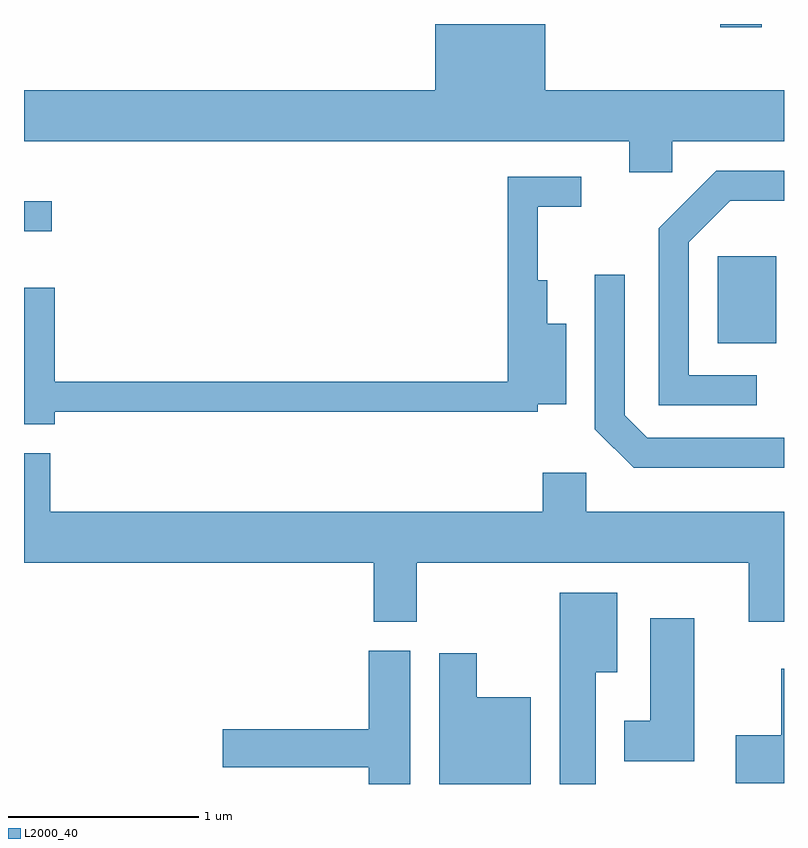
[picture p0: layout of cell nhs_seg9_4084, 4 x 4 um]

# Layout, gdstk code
import gdstk
lib = gdstk.Library(unit=1e-6, precision=1e-09)
def R(c, l, rs):  # rectangles x0, y0, x1, y1
    for r in rs: c.add(gdstk.rectangle(r[:2], r[2:], *l))
def P(c, l, *ps):  # polygons
    for p in ps: c.add(gdstk.Polygon(p, *l))
L2000_40 = (2000, 40)

nhs_seg9_4084 = lib.new_cell('nhs_seg9_4084')
R(nhs_seg9_4084, L2000_40, [(309.261,1990.751,309.569,1991.209), (305.611,1991.341,305.758,1991.499), (309.276,1992.416,309.494,1992.432)])
P(nhs_seg9_4084, L2000_40, [(309.024,1991.816),(309.611,1991.816),(309.611,1992.084),(308.354,1992.084),(308.354,1992.432),(307.776,1992.432),(307.776,1992.084),(305.611,1992.084),(305.611,1991.816),(308.796,1991.816),(308.796,1991.651),(309.024,1991.651)],
  [(309.468,1990.584),(309.109,1990.584),(309.109,1991.284),(309.327,1991.501),(309.611,1991.501),(309.611,1991.659),(309.254,1991.659),(308.951,1991.357),(308.951,1990.426),(309.468,1990.426)],
  [(305.774,1990.391),(308.314,1990.391),(308.314,1990.431),(308.464,1990.431),(308.464,1990.854),(308.364,1990.854),(308.364,1991.084),(308.314,1991.084),(308.314,1991.471),(308.543,1991.471),(308.543,1991.629),(308.156,1991.629),(308.156,1990.549),(305.774,1990.549),(305.774,1991.044),(305.611,1991.044),(305.611,1990.326),(305.774,1990.326)],
  [(309.611,1990.254),(308.892,1990.254),(308.774,1990.372),(308.774,1991.113),(308.616,1991.113),(308.616,1990.299),(308.819,1990.096),(309.611,1990.096)],
  [(307.679,1989.596),(309.426,1989.596),(309.426,1989.286),(309.611,1989.286),(309.611,1989.864),(308.569,1989.864),(308.569,1990.069),(308.341,1990.069),(308.341,1989.864),(305.749,1989.864),(305.749,1990.174),(305.611,1990.174),(305.611,1989.596),(307.451,1989.596),(307.451,1989.286),(307.679,1989.286)],
  [(308.619,1989.021),(308.734,1989.021),(308.734,1989.439),(308.431,1989.439),(308.431,1988.432),(308.619,1988.432)],
  [(309.139,1989.304),(308.906,1989.304),(308.906,1988.764),(308.771,1988.764),(308.771,1988.551),(309.139,1988.551)],
  [(307.644,1989.134),(307.426,1989.134),(307.426,1988.719),(306.656,1988.719),(306.656,1988.521),(307.426,1988.521),(307.426,1988.432),(307.644,1988.432)],
  [(308.279,1988.889),(307.994,1988.889),(307.994,1989.119),(307.796,1989.119),(307.796,1988.432),(308.279,1988.432)],
  [(309.611,1989.039),(309.596,1989.039),(309.596,1988.689),(309.356,1988.689),(309.356,1988.436),(309.611,1988.436)])

lib.write_gds('nhs_seg9_4084.gds')
